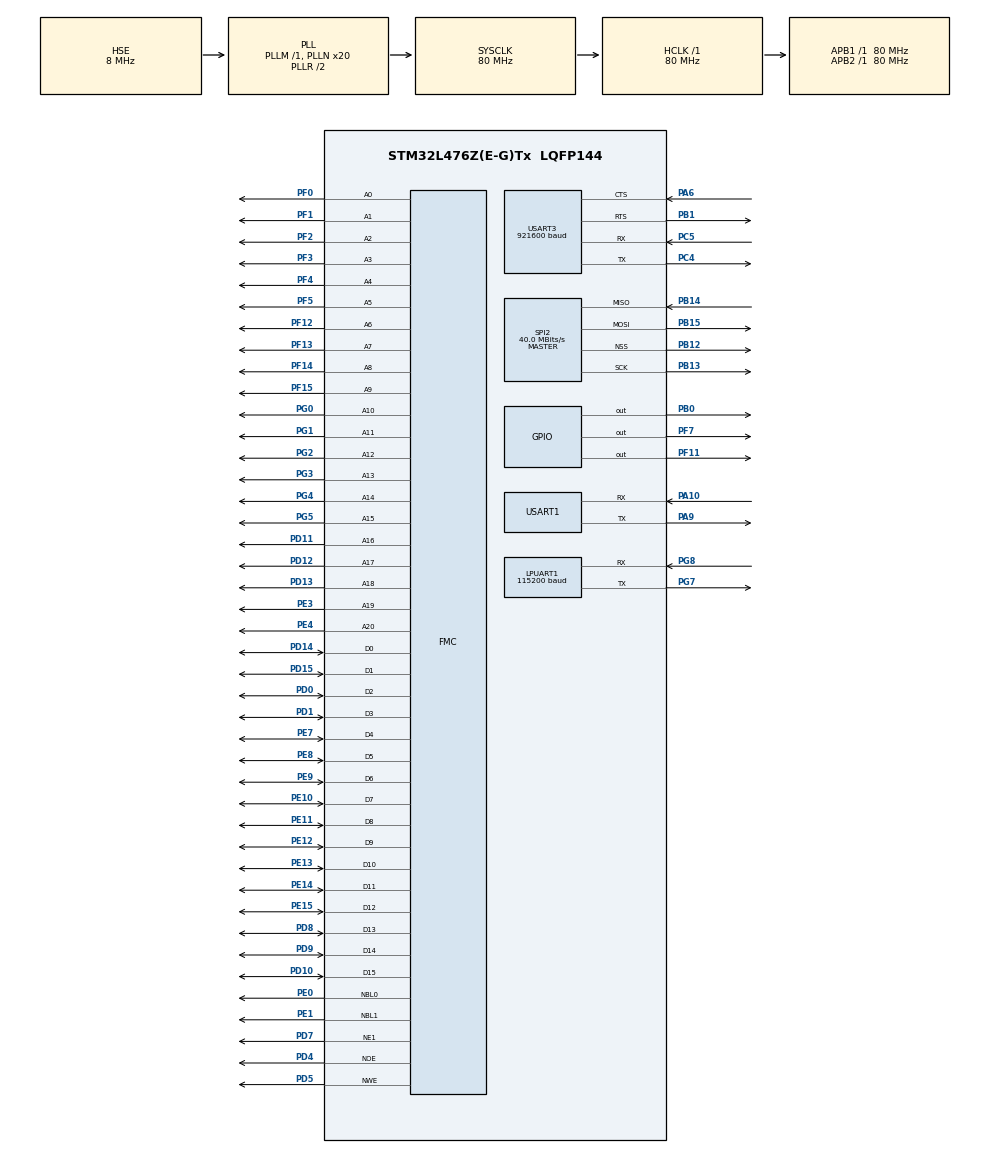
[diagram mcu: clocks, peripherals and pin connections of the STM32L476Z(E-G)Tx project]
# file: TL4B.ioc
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FMC.WriteOperation1=FMC_WRITE_OPERATION_ENABLE
LPUART1.BaudRate=115200
LPUART1.WordLength=UART_WORDLENGTH_8B
Mcu.Family=STM32L4
Mcu.Name=STM32L476Z(E-G)Tx
Mcu.Package=LQFP144
NVIC.LPUART1_IRQn=true\:0\:0\:false\:false\:true\:true\:true
NVIC.PriorityGroup=NVIC_PRIORITYGROUP_4
NVIC.USART1_IRQn=true\:0\:0\:false\:false\:true\:true\:true
NVIC.USART3_IRQn=true\:0\:0\:false\:false\:true\:true\:true
PA10.Mode=Asynchronous
PA10.Signal=USART1_RX
PA6.Mode=CTS_RTS
PA6.Signal=USART3_CTS
PA9.Mode=Asynchronous
PA9.Signal=USART1_TX
PB0.Signal=GPIO_Output
PB1.Mode=CTS_RTS
PB1.Signal=USART3_RTS
PB12.Mode=NSS_Signal_Hard_Output
PB12.Signal=SPI2_NSS
PB13.Mode=Full_Duplex_Master
PB13.Signal=SPI2_SCK
PB14.Mode=Full_Duplex_Master
PB14.Signal=SPI2_MISO
PB15.Mode=Full_Duplex_Master
PB15.Signal=SPI2_MOSI
PC14-OSC32_IN\ (PC14).Mode=LSE-External-Oscillator
PC14-OSC32_IN\ (PC14).Signal=RCC_OSC32_IN
PC15-OSC32_OUT\ (PC15).Mode=LSE-External-Oscillator
PC15-OSC32_OUT\ (PC15).Signal=RCC_OSC32_OUT
PC4.Mode=Asynchronous
PC4.Signal=USART3_TX
PC5.Mode=Asynchronous
PC5.Signal=USART3_RX
PD0.Signal=FMC_D2_DA2
PD1.Signal=FMC_D3_DA3
PD10.Signal=FMC_D15_DA15
PD11.Signal=FMC_A16_CLE
PD12.Signal=FMC_A17_ALE
PD13.Signal=FMC_A18
PD14.Signal=FMC_D0_DA0
PD15.Signal=FMC_D1_DA1
PD4.Signal=FMC_NOE
PD5.Signal=FMC_NWE
PD7.Mode=NorPsramChipSelect1_1
PD7.Signal=FMC_NE1
PD8.Signal=FMC_D13_DA13
PD9.Signal=FMC_D14_DA14
PE0.Signal=FMC_NBL0
PE1.Signal=FMC_NBL1
PE10.Signal=FMC_D7_DA7
PE11.Signal=FMC_D8_DA8
PE12.Signal=FMC_D9_DA9
PE13.Signal=FMC_D10_DA10
PE14.Signal=FMC_D11_DA11
PE15.Signal=FMC_D12_DA12
PE3.Signal=FMC_A19
PE4.Signal=FMC_A20
PE7.Signal=FMC_D4_DA4
PE8.Signal=FMC_D5_DA5
PE9.Signal=FMC_D6_DA6
PF0.Signal=FMC_A0
PF1.Signal=FMC_A1
PF11.Signal=GPIO_Output
PF12.Signal=FMC_A6
PF13.Signal=FMC_A7
PF14.Signal=FMC_A8
PF15.Signal=FMC_A9
PF2.Signal=FMC_A2
PF3.Signal=FMC_A3
PF4.Signal=FMC_A4
PF5.Signal=FMC_A5
PF7.Signal=GPIO_Output
PG0.Signal=FMC_A10
PG1.Signal=FMC_A11
PG2.Signal=FMC_A12
PG3.Signal=FMC_A13
PG4.Signal=FMC_A14
PG5.Signal=FMC_A15
PG7.Mode=Asynchronous
PG7.Signal=LPUART1_TX
PG8.Mode=Asynchronous
PG8.Signal=LPUART1_RX
PH0-OSC_IN\ (PH0).Mode=HSE-External-Oscillator
PH0-OSC_IN\ (PH0).Signal=RCC_OSC_IN
PH1-OSC_OUT\ (PH1).Mode=HSE-External-Oscillator
PH1-OSC_OUT\ (PH1).Signal=RCC_OSC_OUT
ProjectManager.HeapSize=0x200
ProjectManager.StackSize=0x400
ProjectManager.TargetToolchain=MDK-ARM V5
RCC.ADCFreq_Value=32000000
RCC.AHBFreq_Value=80000000
RCC.APB1Freq_Value=80000000
RCC.APB1TimFreq_Value=80000000
RCC.APB2Freq_Value=80000000
RCC.APB2TimFreq_Value=80000000
RCC.CortexFreq_Value=80000000
RCC.HCLKFreq_Value=80000000
RCC.HSE_VALUE=8000000
RCC.HSI_VALUE=16000000
RCC.MSI_VALUE=4000000
RCC.PLLN=20
RCC.PLLSourceVirtual=RCC_PLLSOURCE_HSE
RCC.RTCClockSelection=RCC_RTCCLKSOURCE_LSE
RCC.SYSCLKFreq_VALUE=80000000
RCC.SYSCLKSource=RCC_SYSCLKSOURCE_PLLCLK
RCC.USBFreq_Value=32000000
RCC.VCOOutputFreq_Value=160000000
SH.FMC_A0.0=FMC_A0,21b-a1
SH.FMC_A1.0=FMC_A1,21b-a1
SH.FMC_A10.0=FMC_A10,21b-a1
SH.FMC_A11.0=FMC_A11,21b-a1
SH.FMC_A12.0=FMC_A12,21b-a1
SH.FMC_A13.0=FMC_A13,21b-a1
SH.FMC_A14.0=FMC_A14,21b-a1
SH.FMC_A15.0=FMC_A15,21b-a1
SH.FMC_A16_CLE.0=FMC_A16,21b-a1
SH.FMC_A17_ALE.0=FMC_A17,21b-a1
SH.FMC_A18.0=FMC_A18,21b-a1
SH.FMC_A19.0=FMC_A19,21b-a1
SH.FMC_A2.0=FMC_A2,21b-a1
SH.FMC_A20.0=FMC_A20,21b-a1
SH.FMC_A3.0=FMC_A3,21b-a1
SH.FMC_A4.0=FMC_A4,21b-a1
SH.FMC_A5.0=FMC_A5,21b-a1
SH.FMC_A6.0=FMC_A6,21b-a1
SH.FMC_A7.0=FMC_A7,21b-a1
SH.FMC_A8.0=FMC_A8,21b-a1
SH.FMC_A9.0=FMC_A9,21b-a1
SH.FMC_D0_DA0.0=FMC_D0,16b-d1
SH.FMC_D10_DA10.0=FMC_D10,16b-d1
SH.FMC_D11_DA11.0=FMC_D11,16b-d1
SH.FMC_D12_DA12.0=FMC_D12,16b-d1
SH.FMC_D13_DA13.0=FMC_D13,16b-d1
SH.FMC_D14_DA14.0=FMC_D14,16b-d1
SH.FMC_D15_DA15.0=FMC_D15,16b-d1
SH.FMC_D1_DA1.0=FMC_D1,16b-d1
SH.FMC_D2_DA2.0=FMC_D2,16b-d1
SH.FMC_D3_DA3.0=FMC_D3,16b-d1
SH.FMC_D4_DA4.0=FMC_D4,16b-d1
SH.FMC_D5_DA5.0=FMC_D5,16b-d1
SH.FMC_D6_DA6.0=FMC_D6,16b-d1
SH.FMC_D7_DA7.0=FMC_D7,16b-d1
SH.FMC_D8_DA8.0=FMC_D8,16b-d1
SH.FMC_D9_DA9.0=FMC_D9,16b-d1
SH.FMC_NBL0.0=FMC_NBL0,2ByteEnable1
SH.FMC_NBL1.0=FMC_NBL1,2ByteEnable1
SH.FMC_NOE.0=FMC_NOE,Sram1
SH.FMC_NWE.0=FMC_NWE,Sram1
SPI2.CalculateBaudRate=40.0 MBits/s
SPI2.Direction=SPI_DIRECTION_2LINES
SPI2.Mode=SPI_MODE_MASTER
SPI2.VirtualNSS=VM_NSSHARD
SPI2.VirtualType=VM_MASTER
USART1.VirtualMode-Asynchronous=VM_ASYNC
USART3.BaudRate=921600
USART3.VirtualMode-Asynchronous=VM_ASYNC
board=custom

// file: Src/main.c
/* USER CODE BEGIN Header */
/**
  ******************************************************************************
  * @file           : main.c
  * @brief          : Main program body
  ******************************************************************************
  * @attention
  *
  * <h2><center>&copy; Copyright (c) 2019 STMicroelectronics.
  * All rights reserved.</center></h2>
  *
  * This software component is licensed by ST under BSD 3-Clause license,
  * the "License"; You may not use this file except in compliance with the
  * License. You may obtain a copy of the License at:
  *                        opensource.org/licenses/BSD-3-Clause
  *
  ******************************************************************************
  */
/* USER CODE END Header */

#include "main.h"
#include "usart.h"
#include "spi.h"
#include "gpio.h"
#include "fmc.h"

void SystemClock_Config(void);
/* USER CODE BEGIN PFP */
#include <stdio.h>			//printf();
#include <string.h>			//字符操作
#include "sram.h"
#include "iap.h"
/* USER CODE END PFP */

/* USER CODE BEGIN 0 */
#define     RUN_LED1_ON()			HAL_GPIO_WritePin(GPIOF, GPIO_PIN_7, GPIO_PIN_RESET)
#define     RUN_LED1_OFF()			HAL_GPIO_WritePin(GPIOF, GPIO_PIN_7, GPIO_PIN_SET)
#define     RUN_LED1_Toggle()		HAL_GPIO_TogglePin(GPIOF, GPIO_PIN_7);

void delay(int cnt)
{
	while(cnt) cnt--;
}
///重定向c库函数printf到串口，重定向后可使用printf函数
int fputc(int ch, FILE *f)
{

	HAL_UART_Transmit(&huart1,(uint8_t *) &ch, 1, 1000);
	return (ch);
}

int iap_load_app(uint32_t appxaddr);
void flash_test(void);
int iap_updata(uint32_t appxaddr,uint8_t *appbuf,uint32_t appsize);
void Rev4g_polling(void * p_arg);
extern int sent_time;
unsigned int checksum_16bit(unsigned char* a,unsigned int n);
int flash_read(uint8_t *ADD,uint8_t *buf,int len);

uint8_t bootstate=0;
uint32_t iap_data_len;
uint32_t ur1_cnt=0,ur1_cnt_old=0;			//接收的字节数

uint8_t iap_buf[lenmax1] __attribute__ ((at(iap_buf_add)));//接收缓冲,最大USART_REC_LEN个字节,起始地址为0X20001000.
uint32_t systime=0,cnt100ms=0;

uint8_t ur5[100],ur5_cnt=0,ur5_cnt_old=0;

uint8_t ur3[lenmax3];
uint16_t ur3_cnt=0,ur3_cnt_old=0;

extern uint8_t DTU_OK;

//void HAL_Delay(uint32_t Delay)
//{
//	OS_ERR      err;
//	OSTimeDly ( 2, OS_OPT_TIME_DLY, & err );
//}

///////////////////DTU///////////////////////////////////////////////////////
#define		PWR_DTU_ON		GPIO_PIN_SET
#define		PWR_DTU_OFF		GPIO_PIN_RESET

#define		PWR_W_DTU(x)		(((x) == 0) ? HAL_GPIO_WritePin(GPIOF, GPIO_PIN_11, PWR_DTU_OFF) : HAL_GPIO_WritePin(GPIOF, GPIO_PIN_11, PWR_DTU_ON))
#define		PWR_R_DTU()		((HAL_GPIO_ReadPin(GPIOF, GPIO_PIN_11) == PWR_DTU_OFF) ? 0 : 1))

#define		DTU_DTR_ON		GPIO_PIN_RESET
#define		DTU_DTR_OFF		GPIO_PIN_SET

#define		DTU_W_DTR(x)		(((x) == 0) ? HAL_GPIO_WritePin(GPIOB, GPIO_PIN_0, DTU_DTR_OFF) : HAL_GPIO_WritePin(GPIOB, GPIO_PIN_0, DTU_DTR_ON))

//#define		Wake_up_DTU()			HAL_GPIO_WritePin(GPIOB, GPIO_PIN_0, GPIO_PIN_RESET)

void DTU_reset(void)
{
	PWR_W_DTU(0);
	DTU_W_DTR(0);
	printf("\r\nDTUoff");
	HAL_Delay(6000);
	PWR_W_DTU(1);
	DTU_W_DTR(1);
	printf("\r\nDTUon");
}

/* USER CODE END 0 */

int main(void)
{
  /* USER CODE BEGIN 1 */
//	SCB->VTOR = FLASH_BASE | 0x0000;//设置偏移量
  /* USER CODE END 1 */

  /* MCU Configuration--------------------------------------------------------*/

  /* Reset of all peripherals, Initializes the Flash interface and the Systick. */
  HAL_Init();

  /* USER CODE BEGIN Init */
//	HAL_Init();里面设置中断优先级组
  /* USER CODE END Init */

  /* Configure the system clock */
  SystemClock_Config();

  /* Initialize all configured peripherals */
  MX_GPIO_Init();
  MX_USART1_UART_Init();
  MX_FMC_Init();
  MX_SPI2_Init();
  MX_USART3_UART_Init();
  MX_LPUART1_UART_Init();
  /* USER CODE BEGIN 2 */
//#if EN_USART1_RX

//#endif

  /* USER CODE END 2 */

  /* Infinite loop */
  /* USER CODE BEGIN WHILE */

	printf("\r\n\r\n引导程序,%d,",updata_flag[0]);
	__HAL_UART_ENABLE_IT(&huart1,UART_IT_RXNE);		//开启接收中断
		HAL_NVIC_EnableIRQ(USART1_IRQn);				//使能USART1中断通道
		HAL_NVIC_SetPriority(USART1_IRQn,4,4);			//抢占优先级3，子优先级3

	if(updata_flag[0]==0xaa)		//工作台升级
	{
		printf("\r\n准备接收工作台updata数据");
		updata_flag[0]=0;
		ur1_cnt=0;
		bootstate=2;

//		__HAL_UART_ENABLE_IT(&huart3,UART_IT_RXNE);		//开启接收中断
//		HAL_NVIC_EnableIRQ(USART3_IRQn);				//使能USART1中断通道
//		HAL_NVIC_SetPriority(USART3_IRQn,3,3);			//抢占优先级3，子优先级3
//
//		__HAL_UART_ENABLE_IT(&hlpuart1,UART_IT_RXNE);		//开启接收中断
//		HAL_NVIC_EnableIRQ(LPUART1_IRQn);				//使能USART1中断通道
//		HAL_NVIC_SetPriority(LPUART1_IRQn,3,3);			//抢占优先级3，子优先级3
//		DTU_reset();
	}
	else
	if(updata_flag[0]==0x55)//||(updata_flag[0]==0xaa))	//南网后台升级 //if(1)//
	{
		printf("\r\n准备接收4G后台updata数据");
		updata_flag[0]=0;
		ur3_cnt=0;
		bootstate=3;

		__HAL_UART_ENABLE_IT(&huart3,UART_IT_RXNE);		//开启接收中断
		HAL_NVIC_EnableIRQ(USART3_IRQn);				//使能USART1中断通道
		HAL_NVIC_SetPriority(USART3_IRQn,3,3);			//抢占优先级3，子优先级3

		__HAL_UART_ENABLE_IT(&hlpuart1,UART_IT_RXNE);		//开启接收中断
		HAL_NVIC_EnableIRQ(LPUART1_IRQn);				//使能USART1中断通道
		HAL_NVIC_SetPriority(LPUART1_IRQn,3,3);			//抢占优先级3，子优先级3
		DTU_reset();

		flash_read(STAA,STAA,7);
	}
	else
	{
//		printf("\r\n准备接收updata数据");
//		iap_load_app(APP1_ADD);
		bootstate=1; //测试用
	}

  while (1)
  {
//		delay(10000000);
		delay(1000);
		if(HAL_GetTick()>(cnt100ms+100))//if(uwTick>(systime+1000))
		{
			cnt100ms+=100;
			systime++;
			if(ur1_cnt)
			{
				if(systime%3==0)
				{
					if(ur1_cnt_old==ur1_cnt)
					{
						if((ur1_cnt>=3000)&&(bootstate==2))
						{
							iap_data_len=ur1_cnt;
							printf("\r\n工作台升级程序接收完成!");
							printf("\r\n代码长度:%d",iap_data_len);
							printf("\r\n计算校验和:%04x",checksum_16bit(iap_buf,iap_data_len));

							if(iap_updata(APP1_ADD,iap_buf,iap_data_len)!=0)
							{
								printf("\r\n接收数据错误");
							}
							iap_load_app(APP1_ADD);
						}
						else if(strncmp((char *)iap_buf,"RB",2)==0)
						{
							HAL_NVIC_SystemReset();
						}
						else if(strncmp((char *)iap_buf,"updata",6)==0)
						{
							if(bootstate==1)
							{
								printf("\r\n等待接收程序");
								bootstate=2;
							}
						}
						else
						{
							if(bootstate!=3) iap_load_app(APP1_ADD);
						}
						ur1_cnt=0;
						systime=0;
					}
					else
					{
						ur1_cnt_old=ur1_cnt;
					}
				}
			}
			else
			{
				if(systime%5==0)
				{
					printf(".");
				}
				if(bootstate==1)
				{
					if(systime>=30) iap_load_app(APP1_ADD);
				}
				else if(bootstate==2)
				{
					if(systime>=300) iap_load_app(APP1_ADD);
				}
				else if(bootstate==3)
				{

					if(ur5_cnt)
					{
						if(ur5_cnt_old != ur5_cnt) ur5_cnt_old=ur5_cnt;
						else
						{
							printf("\r\n%s",ur5);
							ur5_cnt=0;
							if ((0 == memcmp("\r\nPB DONE", ur5, sizeof("\r\nPB DONE") - 1))||(0 == memcmp("PB DONE", ur5, sizeof("PB DONE") - 1)))
							{
								DTU_OK=1;
								sent_time=systime;
							}
						}
					}
					if(DTU_OK) Rev4g_polling(0);
	//				if(systime>=150) iap_load_app(APP1_ADD);
				}
			}

		}

    /* USER CODE END WHILE */

  }
}

void SystemClock_Config(void)
{
  RCC_OscInitTypeDef RCC_OscInitStruct = {0};
  RCC_ClkInitTypeDef RCC_ClkInitStruct = {0};
  RCC_PeriphCLKInitTypeDef PeriphClkInit = {0};

  /** Initializes the CPU, AHB and APB busses clocks
  */
  RCC_OscInitStruct.OscillatorType = RCC_OSCILLATORTYPE_HSE;
  RCC_OscInitStruct.HSEState = RCC_HSE_ON;
  RCC_OscInitStruct.PLL.PLLState = RCC_PLL_ON;
  RCC_OscInitStruct.PLL.PLLSource = RCC_PLLSOURCE_HSE;
  RCC_OscInitStruct.PLL.PLLM = 1;
  RCC_OscInitStruct.PLL.PLLN = 20;
  RCC_OscInitStruct.PLL.PLLP = RCC_PLLP_DIV7;
  RCC_OscInitStruct.PLL.PLLQ = RCC_PLLQ_DIV2;
  RCC_OscInitStruct.PLL.PLLR = RCC_PLLR_DIV2;
  if (HAL_RCC_OscConfig(&RCC_OscInitStruct) != HAL_OK)
  {
    Error_Handler();
  }
  /** Initializes the CPU, AHB and APB busses clocks
  */
  RCC_ClkInitStruct.ClockType = RCC_CLOCKTYPE_HCLK|RCC_CLOCKTYPE_SYSCLK
                              |RCC_CLOCKTYPE_PCLK1|RCC_CLOCKTYPE_PCLK2;
  RCC_ClkInitStruct.SYSCLKSource = RCC_SYSCLKSOURCE_PLLCLK;
  RCC_ClkInitStruct.AHBCLKDivider = RCC_SYSCLK_DIV1;
  RCC_ClkInitStruct.APB1CLKDivider = RCC_HCLK_DIV1;
  RCC_ClkInitStruct.APB2CLKDivider = RCC_HCLK_DIV1;

  if (HAL_RCC_ClockConfig(&RCC_ClkInitStruct, FLASH_LATENCY_4) != HAL_OK)
  {
    Error_Handler();
  }
  PeriphClkInit.PeriphClockSelection = RCC_PERIPHCLK_USART1|RCC_PERIPHCLK_USART3
                              |RCC_PERIPHCLK_LPUART1;
  PeriphClkInit.Usart1ClockSelection = RCC_USART1CLKSOURCE_PCLK2;
  PeriphClkInit.Usart3ClockSelection = RCC_USART3CLKSOURCE_PCLK1;
  PeriphClkInit.Lpuart1ClockSelection = RCC_LPUART1CLKSOURCE_PCLK1;
  if (HAL_RCCEx_PeriphCLKConfig(&PeriphClkInit) != HAL_OK)
  {
    Error_Handler();
  }
  /** Configure the main internal regulator output voltage
  */
  if (HAL_PWREx_ControlVoltageScaling(PWR_REGULATOR_VOLTAGE_SCALE1) != HAL_OK)
  {
    Error_Handler();
  }
}

void Error_Handler(void)
{
}

/************************ (C) COPYRIGHT STMicroelectronics *****END OF FILE****/
